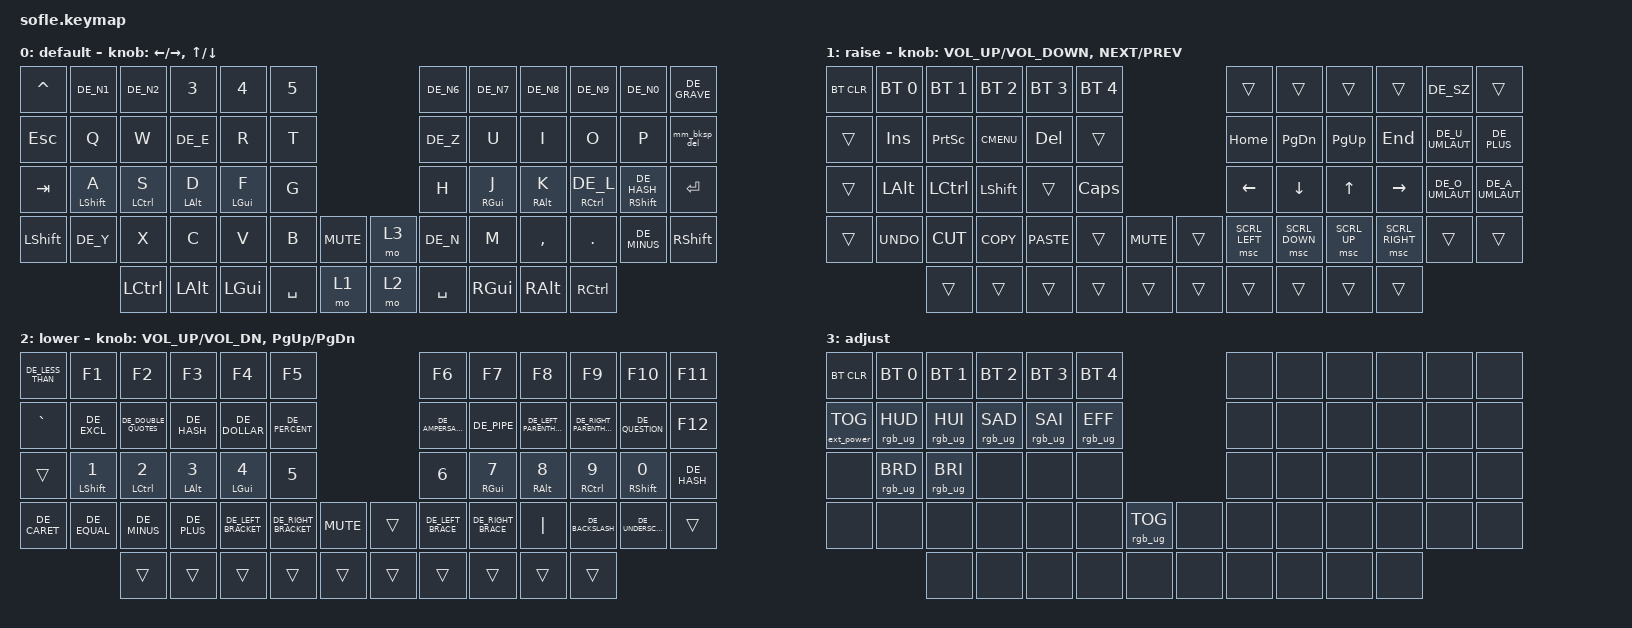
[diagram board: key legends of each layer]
/*
 * Copyright (c) 2020 The ZMK Contributors
 *
 * SPDX-License-Identifier: MIT
 */
// ZMK imports
// custom imports
// Source keypos definitions from urob's repo

#include "zmk-helpers/key-labels/sofle.h"

#define KEYS_L LN0 LN1 LN2 LN3 LN4 LN5 LT0 LT1 LT2 LT3 LT4 LT5 LM0 LM1 LM2 LM3 LM4 LM5 LB0 LB1 LB2 LB3 LB4 LB5
#define KEYS_R RN0 RN1 RN2 RN3 RN4 RN5 RT0 RT1 RT2 RT3 RT4 RT5 RM0 RM1 RM2 RM3 RM4 RM5 RB0 RB1 RB2 RB3 RB4 RB5
#define KEYS_T LH4 LH3 LH2 LH1 LH0 RH0 RH1 RH2 RH3 RH4

#include "keys_de.h"
#include "custom-behaviors.dtsi"
#include <behaviors.dtsi>
#include <dt-bindings/zmk/bt.h>
#include <dt-bindings/zmk/ext_power.h>
#include <dt-bindings/zmk/keys.h>
#include <dt-bindings/zmk/pointing.h>
#include <dt-bindings/zmk/rgb.h>

#define BASE 0
#define LOWER 1
#define RAISE 2
#define ADJUST 3

/ {
    // Activate ADJUST layer by pressing raise and lower

    conditional_layers {
        compatible = "zmk,conditional-layers";

        adjust_layer {
            if-layers = <3 1>;
            then-layer = <4>;
        };
    };

    behaviors {
        mm_bksp_del: mm_bksp_del {
            compatible = "zmk,behavior-mod-morph";
            label = "MM_BKSP_DEL";
            bindings = <&kp BSPC>, <&kp DELETE>;

            #binding-cells = <0>;
            mods = <(MOD_LSFT|MOD_RSFT)>;
        };
    };

    keymap {
        compatible = "zmk,keymap";

        default_layer {
            display-name = "default";

            // ------------------------------------------------------------------------------------------------------------
            // |   `   |  1  |  2  |  3   |  4   |  5   |                   |  6   |  7    |  8    |  9   |   0   |       |
            // |  ESC  |  Q  |  W  |  E   |  R   |  T   |                   |  Y   |  U    |  I    |  O   |   P   | BKSPC |
            // |  TAB  |  A  |  S  |  D   |  F   |  G   |                   |  H   |  J    |  K    |  L   |   ;   |   '   |
            // | SHIFT |  Z  |  X  |  C   |  V   |  B   |  MUTE  |  |       |  N   |  M    |  ,    |  .   |   /   | SHIFT |
            //               | GUI | ALT  | CTRL | LOWER|  ENTER |  | SPACE | RAISE| CTRL  | ALT   | GUI  |

            bindings = <
&kp CARET  &kp DE_N1      &kp DE_N2      &kp N3        &kp N4            &kp N5                          &kp DE_N6  &kp DE_N7          &kp DE_N8     &kp DE_N9         &kp DE_N0             &kp DE_GRAVE
&kp ESC    &kp Q          &kp W          &kp DE_E      &kp R             &kp T                           &kp DE_Z   &kp U              &kp I         &kp O             &kp P                 &mm_bksp_del
&kp TAB    &hm_l LSHFT A  &hm_l LCTRL S  &hm_l LALT D  &hm_l LEFT_GUI F  &kp G                           &kp H      &hm_r RIGHT_GUI J  &hm_r RALT K  &hm_r RCTRL DE_L  &hm_r RSHIFT DE_HASH  &kp ENTER
&kp LSHFT  &kp DE_Y       &kp X          &kp C         &kp V             &kp B      &kp C_MUTE    &mo 3  &kp DE_N   &kp M              &kp COMMA     &kp DOT           &kp DE_MINUS          &kp RSHFT
                          &kp LCTRL      &kp LALT      &kp LEFT_GUI      &kp SPACE  &mo 1         &mo 2  &kp SPACE  &kp RIGHT_GUI      &kp RALT      &kp RCTRL
            >;

            sensor-bindings = <&inc_dec_kp LEFT RIGHT>, <&inc_dec_kp UP DOWN>;
        };

        raise_layer {
            display-name = "raise";

            // ------------------------------------------------------------------------------------------------------------
            // | BTCLR | BT1  | BT2  |  BT3  |  BT4  |  BT5 |                |      |      |       |      |       |       |
            // |       | INS  | PSCR | GUI   |       |      |                | PGUP |      |   ^   |      |       |       |
            // |       | ALT  | CTRL | SHIFT |       | CAPS |                | PGDN |   <- |   v   |  ->  |  DEL  | BKSPC |
            // |       | UNDO | CUT  | COPY  | PASTE |      |      |  |      |      |      |       |      |       |       |
            //                |      |       |       |      |      |  |      |      |      |       |      |

            bindings = <
&bt BT_CLR  &bt BT_SEL 0  &bt BT_SEL 1  &bt BT_SEL 2  &bt BT_SEL 3  &bt BT_SEL 4                        &trans          &trans          &trans        &trans           &kp DE_SZ        &trans
&trans      &kp INS       &kp PSCRN     &kp K_CMENU   &kp DELETE    &trans                              &kp HOME        &kp PAGE_DOWN   &kp PG_UP     &kp END          &kp DE_U_UMLAUT  &kp DE_PLUS
&trans      &kp LALT      &kp LCTRL     &kp LSHFT     &trans        &kp CLCK                            &kp LEFT_ARROW  &kp DOWN_ARROW  &kp UP        &kp RIGHT        &kp DE_O_UMLAUT  &kp DE_A_UMLAUT
&trans      &kp K_UNDO    &kp K_CUT     &kp K_COPY    &kp K_PASTE   &trans        &kp K_MUTE    &trans  &msc SCRL_LEFT  &msc SCRL_DOWN  &msc SCRL_UP  &msc SCRL_RIGHT  &trans           &trans
                          &trans        &trans        &trans        &trans        &trans        &trans  &trans          &trans          &trans        &trans
            >;

            sensor-bindings =
                <&inc_dec_kp C_VOLUME_UP C_VOLUME_DOWN>,
                <&inc_dec_kp C_NEXT C_PREV>;
        };

        lower_layer {
            display-name = "lower";

            // TODO: Some binds are waiting for shifted keycode support.
            // ------------------------------------------------------------------------------------------------------------
            // |       |  F1 |  F2 |  F3  |  F4  |  F5  |                   |  F6  |  F7   |  F8   |  F9  |  F10  |  F11  |
            // |   `   |  1  |  2  |  3   |  4   |  5   |                   |  6   |  7    |  8    |  9   |   0   |  F12  |
            // |       |  !  |  @  |  #   |  $   |  %   |                   |  ^   |  &    |  *    |  (   |   )   |   |   |
            // |       |  =  |  -  |  +   |  {   |  }   |        |  |       |  [   |  ]    |  ;    |  :   |   \   |       |
            //               |     |      |      |      |        |  |       |      |       |       |      |

            bindings = <
&kp DE_LESS_THAN  &kp F1           &kp F2                &kp F3         &kp F4               &kp F5                                      &kp F6             &kp F7              &kp F8                   &kp F9                    &kp F10            &kp F11
&kp GRAVE         &kp DE_EXCL      &kp DE_DOUBLE_QUOTES  &kp DE_HASH    &kp DE_DOLLAR        &kp DE_PERCENT                              &kp DE_AMPERSAND   &kp DE_PIPE         &kp DE_LEFT_PARENTHESIS  &kp DE_RIGHT_PARENTHESIS  &kp DE_QUESTION    &kp F12
&trans            &hm_l LSHIFT N1  &hm_l LCTRL N2        &hm_l LALT N3  &hm_l LEFT_GUI N4    &kp N5                                      &kp N6             &hm_r RIGHT_GUI N7  &hm_r RALT N8            &hm_r RCTRL N9            &hm_r RSHFT N0     &kp DE_HASH
&kp DE_CARET      &kp DE_EQUAL     &kp DE_MINUS          &kp DE_PLUS    &kp DE_LEFT_BRACKET  &kp DE_RIGHT_BRACKET  &kp C_MUTE    &trans  &kp DE_LEFT_BRACE  &kp DE_RIGHT_BRACE  &kp PIPE                 &kp DE_BACKSLASH          &kp DE_UNDERSCORE  &trans
                                   &trans                &trans         &trans               &trans                &trans        &trans  &trans             &trans              &trans                   &trans
            >;

            sensor-bindings =
                <&inc_dec_kp C_VOL_UP C_VOL_DN>,
                <&inc_dec_kp PG_UP PG_DN>;
        };

        adjust_layer {
            // ----------------------------------------------------------------------------------------------------------------------------
            // | BTCLR  |  BT1    |  BT2    |   BT3   |   BT4   |   BT5   |                  |      |      |       |      |       |       |
            // | EXTPWR | RGB_HUD | RGB_HUI | RGB_SAD | RGB_SAI | RGB_EFF |                  |      |      |       |      |       |       |
            // |        | RGB_BRD | RGB_BRI |         |         |         |                  |      |      |       |      |       |       |
            // |        |         |         |         |         |         | RGB_TOG | |      |      |      |       |      |       |       |
            //                    |         |         |         |         |         | |      |      |      |       |      |

            display-name = "adjust";
            bindings = <
&bt BT_CLR         &bt BT_SEL 0     &bt BT_SEL 1     &bt BT_SEL 2     &bt BT_SEL 3     &bt BT_SEL 4                               &none  &none  &none  &none  &none  &none
&ext_power EP_TOG  &rgb_ug RGB_HUD  &rgb_ug RGB_HUI  &rgb_ug RGB_SAD  &rgb_ug RGB_SAI  &rgb_ug RGB_EFF                            &none  &none  &none  &none  &none  &none
&none              &rgb_ug RGB_BRD  &rgb_ug RGB_BRI  &none            &none            &none                                      &none  &none  &none  &none  &none  &none
&none              &none            &none            &none            &none            &none            &rgb_ug RGB_TOG    &none  &none  &none  &none  &none  &none  &none
                                    &none            &none            &none            &none            &none              &none  &none  &none  &none  &none
            >;
        };
    };
};
